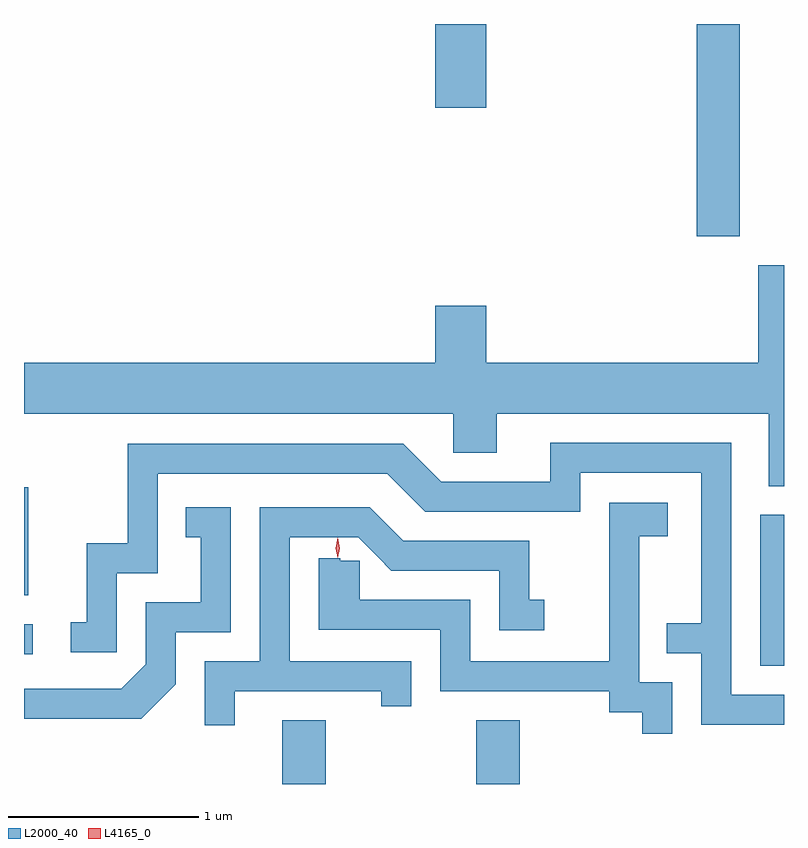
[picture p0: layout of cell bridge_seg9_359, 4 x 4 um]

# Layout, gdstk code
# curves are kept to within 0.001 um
import gdstk
lib = gdstk.Library(unit=1e-6, precision=1e-09)
def R(c, l, rs):  # rectangles x0, y0, x1, y1
    for r in rs: c.add(gdstk.rectangle(r[:2], r[2:], *l))
def P(c, l, *ps):  # polygons
    for p in ps: c.add(gdstk.Polygon(p, *l))
L2000_40 = (2000, 40)
L4165_0 = (4165, 0)

bridge_seg9_359 = lib.new_cell('bridge_seg9_359')
R(bridge_seg9_359, L2000_40, [(973.511,1989.868,973.739,1990.204), (974.531,1989.868,974.759,1990.204), (976.026,1990.491,976.151,1991.284), (972.151,1990.551,972.198,1990.709), (972.151,1990.861,972.174,1991.429), (975.691,1992.751,975.919,1993.868), (974.316,1993.426,974.584,1993.868)])
P(bridge_seg9_359, L2000_40, [(976.151,1992.599),(976.016,1992.599),(976.016,1992.084),(974.584,1992.084),(974.584,1992.384),(974.316,1992.384),(974.316,1992.084),(972.151,1992.084),(972.151,1991.816),(974.411,1991.816),(974.411,1991.611),(974.639,1991.611),(974.639,1991.816),(976.071,1991.816),(976.071,1991.436),(976.151,1991.436)],
  [(976.151,1990.339),(975.874,1990.339),(975.874,1991.664),(974.921,1991.664),(974.921,1991.459),(974.347,1991.459),(974.147,1991.659),(972.696,1991.659),(972.696,1991.134),(972.481,1991.134),(972.481,1990.719),(972.398,1990.719),(972.398,1990.561),(972.639,1990.561),(972.639,1990.976),(972.854,1990.976),(972.854,1991.501),(974.064,1991.501),(974.264,1991.301),(975.079,1991.301),(975.079,1991.506),(975.716,1991.506),(975.716,1990.714),(975.533,1990.714),(975.533,1990.556),(975.716,1990.556),(975.716,1990.181),(976.151,1990.181)],
  [(975.564,1990.404),(975.389,1990.404),(975.389,1991.171),(975.539,1991.171),(975.539,1991.349),(975.231,1991.349),(975.231,1990.514),(974.499,1990.514),(974.499,1990.839),(973.918,1990.839),(973.918,1991.042),(973.815,1991.042),(973.815,1991.056),(973.701,1991.056),(973.701,1990.681),(974.341,1990.681),(974.341,1990.356),(975.231,1990.356),(975.231,1990.246),(975.406,1990.246),(975.406,1990.133),(975.564,1990.133)],
  [(973.259,1990.356),(974.031,1990.356),(974.031,1990.278),(974.189,1990.278),(974.189,1990.514),(973.549,1990.514),(973.549,1991.166),(973.909,1991.166),(974.084,1990.991),(974.651,1990.991),(974.651,1990.676),(974.888,1990.676),(974.888,1990.839),(974.809,1990.839),(974.809,1991.149),(974.147,1991.149),(973.972,1991.324),(973.391,1991.324),(973.391,1990.514),(973.101,1990.514),(973.101,1990.178),(973.259,1990.178)],
  [(972.949,1990.394),(972.949,1990.666),(973.239,1990.666),(973.239,1991.324),(973.003,1991.324),(973.003,1991.166),(973.081,1991.166),(973.081,1990.824),(972.791,1990.824),(972.791,1990.497),(972.664,1990.369),(972.151,1990.369),(972.151,1990.211),(972.767,1990.211)])
P(bridge_seg9_359, L4165_0, [(973.801,1991.058),(973.792,1991.11),(973.802,1991.163),(973.802,1991.164),(973.803,1991.163),(973.812,1991.11),(973.802,1991.058),(973.802,1991.058)],
  [(973.801,1991.06),(973.792,1991.11),(973.802,1991.16),(973.802,1991.161),(973.803,1991.16),(973.812,1991.11),(973.802,1991.06),(973.802,1991.06)])

lib.write_gds('bridge_seg9_359.gds')
